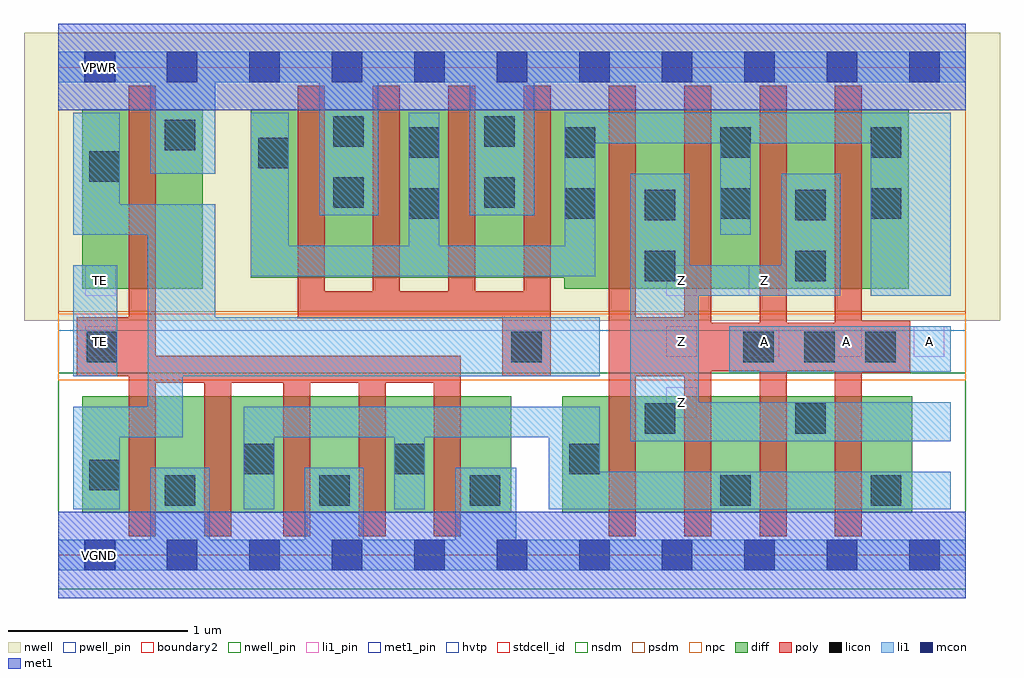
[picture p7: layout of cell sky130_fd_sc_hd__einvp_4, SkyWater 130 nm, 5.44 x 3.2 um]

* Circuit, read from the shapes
.subckt sky130_fd_sc_hd__einvp_4 A TE VGND VNB VPB VPWR Z
XM1 VGND TE n1 VNB sky130_fd_pr__nfet_01v8 w=0.65 l=0.15
XM2 n2 TE VGND VNB sky130_fd_pr__nfet_01v8 w=0.65 l=0.15 m=4
XM3 Z A n2 VNB sky130_fd_pr__nfet_01v8 w=0.65 l=0.15 m=4
XM4 VPWR TE n1 VPB sky130_fd_pr__pfet_01v8_hvt w=1 l=0.15
XM5 VPWR n1 n3 VPB sky130_fd_pr__pfet_01v8_hvt w=0.94 l=0.15 m=4
XM6 Z A n3 VPB sky130_fd_pr__pfet_01v8_hvt w=1 l=0.15 m=4
.ends

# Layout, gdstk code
import gdstk
lib = gdstk.Library(unit=1e-6, precision=1e-09)
def R(c, l, rs):  # rectangles x0, y0, x1, y1
    for r in rs: c.add(gdstk.rectangle(r[:2], r[2:], *l))
def A(c, l, x, y, w, h, nx, ny, dx, dy):  # array of equal rectangles
    R(c, l, [(x+i*dx, y+j*dy, x+i*dx+w, y+j*dy+h) for i in range(nx) for j in range(ny)])
def P(c, l, *ps):  # polygons
    for p in ps: c.add(gdstk.Polygon(p, *l))
nwell_pin = (64, 16)
nwell = (64, 20)
diff = (65, 20)
poly = (66, 20)
licon = (66, 44)
li1_pin = (67, 16)
li1 = (67, 20)
mcon = (67, 44)
met1_pin = (68, 16)
met1 = (68, 20)
hvtp = (78, 44)
stdcell_id = (81, 4)
nsdm = (93, 44)
psdm = (94, 20)
npc = (95, 20)
pwell_pin = (122, 16)
boundary2 = (236, 0)

sky130_fd_sc_hd__einvp_4 = lib.new_cell('sky130_fd_sc_hd__einvp_4')
R(sky130_fd_sc_hd__einvp_4, nwell_pin, [(0.15,2.635,0.32,2.805)])
R(sky130_fd_sc_hd__einvp_4, nwell, [(-0.19,1.305,5.25,2.91)])
R(sky130_fd_sc_hd__einvp_4, diff, [(0.135,0.235,2.525,0.885), (2.81,0.235,4.76,0.885), (0.135,1.485,0.805,2.485)])
P(sky130_fd_sc_hd__einvp_4, diff, [(2.82,1.485),(2.82,1.545),(1.075,1.545),(1.075,2.485),(4.74,2.485),(4.74,1.485)])
P(sky130_fd_sc_hd__einvp_4, poly, [(3.07,0.105),(3.07,2.615),(3.22,2.615),(3.22,1.325),(3.49,1.325),(3.49,2.615),(3.64,2.615),(3.64,1.295),(3.91,1.295),(3.91,2.615),(4.06,2.615),(4.06,1.295),(4.33,1.295),(4.33,2.615),(4.48,2.615),(4.48,1.305),(4.75,1.305),(4.75,1.015),(4.48,1.015),(4.48,0.105),(4.33,0.105),(4.33,1.025),(4.06,1.025),(4.06,0.105),(3.91,0.105),(3.91,1.025),(3.64,1.025),(3.64,0.105),(3.49,0.105),(3.49,0.995),(3.22,0.995),(3.22,0.105)],
  [(2.475,0.995),(2.475,1.32),(1.335,1.32),(1.335,2.615),(1.485,2.615),(1.485,1.47),(1.755,1.47),(1.755,2.615),(1.905,2.615),(1.905,1.47),(2.175,1.47),(2.175,2.615),(2.325,2.615),(2.325,1.47),(2.595,1.47),(2.595,2.615),(2.745,2.615),(2.745,0.995)],
  [(0.395,0.105),(0.395,0.995),(0.105,0.995),(0.105,1.325),(0.395,1.325),(0.395,2.615),(0.545,2.615),(0.545,1.11),(2.245,1.11),(2.245,0.105),(2.095,0.105),(2.095,0.96),(1.825,0.96),(1.825,0.105),(1.675,0.105),(1.675,0.96),(1.405,0.96),(1.405,0.105),(1.255,0.105),(1.255,0.96),(0.965,0.96),(0.965,0.105),(0.815,0.105),(0.815,0.96),(0.545,0.96),(0.545,0.105)])
A(sky130_fd_sc_hd__einvp_4, licon, 3.82, 1.075, 0.17, 0.17, 3, 1, 0.34, 0)
R(sky130_fd_sc_hd__einvp_4, licon, [(0.595,0.275,0.765,0.445), (1.455,0.275,1.625,0.445), (2.295,0.275,2.465,0.445), (3.69,0.275,3.86,0.445), (4.53,0.275,4.7,0.445), (0.175,0.36,0.345,0.53), (1.035,0.45,1.205,0.62), (1.875,0.45,2.045,0.62), (2.85,0.45,3.02,0.62), (3.27,0.675,3.44,0.845), (4.11,0.675,4.28,0.845), (0.16,1.075,0.33,1.245), (2.525,1.075,2.695,1.245), (3.27,1.525,3.44,1.695), (4.11,1.525,4.28,1.695), (3.27,1.865,3.44,2.035), (4.11,1.865,4.28,2.035), (1.955,1.875,2.125,2.045), (2.825,1.875,2.995,2.045), (3.69,1.875,3.86,2.045), (4.53,1.875,4.7,2.045), (1.535,1.935,1.705,2.105), (2.375,1.935,2.545,2.105), (0.175,2.08,0.345,2.25), (1.115,2.155,1.285,2.325), (1.955,2.215,2.125,2.385), (2.825,2.215,2.995,2.385), (3.69,2.215,3.86,2.385), (4.53,2.215,4.7,2.385), (0.595,2.255,0.765,2.425), (1.535,2.275,1.705,2.445), (2.375,2.275,2.545,2.445)])
A(sky130_fd_sc_hd__einvp_4, li1_pin, 3.39, 1.105, 0.17, 0.17, 4, 1, 0.46, 0)
R(sky130_fd_sc_hd__einvp_4, li1_pin, [(3.39,0.765,3.56,0.935), (0.15,1.105,0.32,1.275), (0.15,1.445,0.32,1.615), (3.39,1.445,3.56,1.615), (3.85,1.445,4.02,1.615)])
R(sky130_fd_sc_hd__einvp_4, li1, [(0.085,0.995,0.33,1.615), (3.74,1.02,4.975,1.275)])
P(sky130_fd_sc_hd__einvp_4, li1, [(3.19,0.635),(3.19,2.125),(3.52,2.125),(3.52,1.615),(4.03,1.615),(4.03,2.125),(4.36,2.125),(4.36,1.445),(3.57,1.445),(3.57,0.85),(4.975,0.85),(4.975,0.635)],
  [(1.035,0.255),(1.035,0.825),(3.02,0.825),(3.02,0.465),(4.975,0.465),(4.975,0.255),(2.735,0.255),(2.735,0.655),(2.045,0.655),(2.045,0.255),(1.875,0.255),(1.875,0.655),(1.205,0.655),(1.205,0.255)],
  [(4.53,1.445),(4.53,2.295),(3.86,2.295),(3.86,1.785),(3.69,1.785),(3.69,2.295),(2.995,2.295),(2.995,1.555),(1.075,1.555),(1.075,2.465),(1.285,2.465),(1.285,1.725),(1.955,1.725),(1.955,2.465),(2.125,2.465),(2.125,1.725),(2.825,1.725),(2.825,2.465),(4.975,2.465),(4.975,1.445)],
  [(0.085,0.255),(0.085,0.825),(0.5,0.825),(0.5,1.785),(0.085,1.785),(0.085,2.465),(0.345,2.465),(0.345,1.955),(0.875,1.955),(0.875,1.325),(3.02,1.325),(3.02,0.995),(0.695,0.995),(0.695,0.655),(0.345,0.655),(0.345,0.255)],
  [(0,-0.085),(0,0.085),(0.515,0.085),(0.515,0.485),(0.845,0.485),(0.845,0.085),(1.375,0.085),(1.375,0.485),(1.705,0.485),(1.705,0.085),(2.215,0.085),(2.215,0.485),(2.555,0.485),(2.555,0.085),(5.06,0.085),(5.06,-0.085)],
  [(1.455,1.895),(1.455,2.635),(0.875,2.635),(0.875,2.125),(0.515,2.125),(0.515,2.635),(0,2.635),(0,2.805),(5.06,2.805),(5.06,2.635),(2.655,2.635),(2.655,1.895),(2.295,1.895),(2.295,2.635),(1.785,2.635),(1.785,1.895)])
A(sky130_fd_sc_hd__einvp_4, mcon, 0.145, -0.085, 0.17, 0.17, 11, 2, 0.46, 2.72)
R(sky130_fd_sc_hd__einvp_4, met1_pin, [(0.15,-0.085,0.32,0.085), (0.15,2.635,0.32,2.805)])
R(sky130_fd_sc_hd__einvp_4, hvtp, [(0,1.25,5.06,2.72)])
R(sky130_fd_sc_hd__einvp_4, stdcell_id, [(0,0,5.06,2.72)])
R(sky130_fd_sc_hd__einvp_4, nsdm, [(0,-0.19,5.06,1.015)])
R(sky130_fd_sc_hd__einvp_4, psdm, [(0,1.355,5.06,2.91)])
R(sky130_fd_sc_hd__einvp_4, npc, [(0,0.975,5.06,1.345)])
R(sky130_fd_sc_hd__einvp_4, pwell_pin, [(0.15,-0.085,0.32,0.085)])
R(sky130_fd_sc_hd__einvp_4, boundary2, [(0,0,5.06,2.72)])
sky130_fd_sc_hd__einvp_4.add(gdstk.FlexPath([(0,0),(5.06,0)], 0.48, ends="flush", simple_path=True, layer=68, datatype=20))  # met1
sky130_fd_sc_hd__einvp_4.add(gdstk.FlexPath([(0,2.72),(5.06,2.72)], 0.48, ends="flush", simple_path=True, layer=68, datatype=20))  # met1
sky130_fd_sc_hd__einvp_4.add(gdstk.Label('VGND', (0.23,0), layer=68, texttype=5))
sky130_fd_sc_hd__einvp_4.add(gdstk.Label('VPWR', (0.23,2.72), layer=68, texttype=5))
sky130_fd_sc_hd__einvp_4.add(gdstk.Label('VPB', (0.23,2.72), layer=64, texttype=5))
sky130_fd_sc_hd__einvp_4.add(gdstk.Label('VNB', (0.23,0), layer=64, texttype=59))
sky130_fd_sc_hd__einvp_4.add(gdstk.Label('einvp_4', (0,0), layer=83, texttype=44))
sky130_fd_sc_hd__einvp_4.add(gdstk.Label('Z', (3.475,0.85), layer=67, texttype=5))
sky130_fd_sc_hd__einvp_4.add(gdstk.Label('Z', (3.475,1.19), layer=67, texttype=5))
sky130_fd_sc_hd__einvp_4.add(gdstk.Label('Z', (3.475,1.53), layer=67, texttype=5))
sky130_fd_sc_hd__einvp_4.add(gdstk.Label('Z', (3.935,1.53), layer=67, texttype=5))
sky130_fd_sc_hd__einvp_4.add(gdstk.Label('A', (3.935,1.19), layer=67, texttype=5))
sky130_fd_sc_hd__einvp_4.add(gdstk.Label('A', (4.395,1.19), layer=67, texttype=5))
sky130_fd_sc_hd__einvp_4.add(gdstk.Label('A', (4.855,1.19), layer=67, texttype=5))
sky130_fd_sc_hd__einvp_4.add(gdstk.Label('TE', (0.235,1.19), layer=67, texttype=5))
sky130_fd_sc_hd__einvp_4.add(gdstk.Label('TE', (0.235,1.53), layer=67, texttype=5))

lib.write_gds('sky130_fd_sc_hd__einvp_4.gds')
